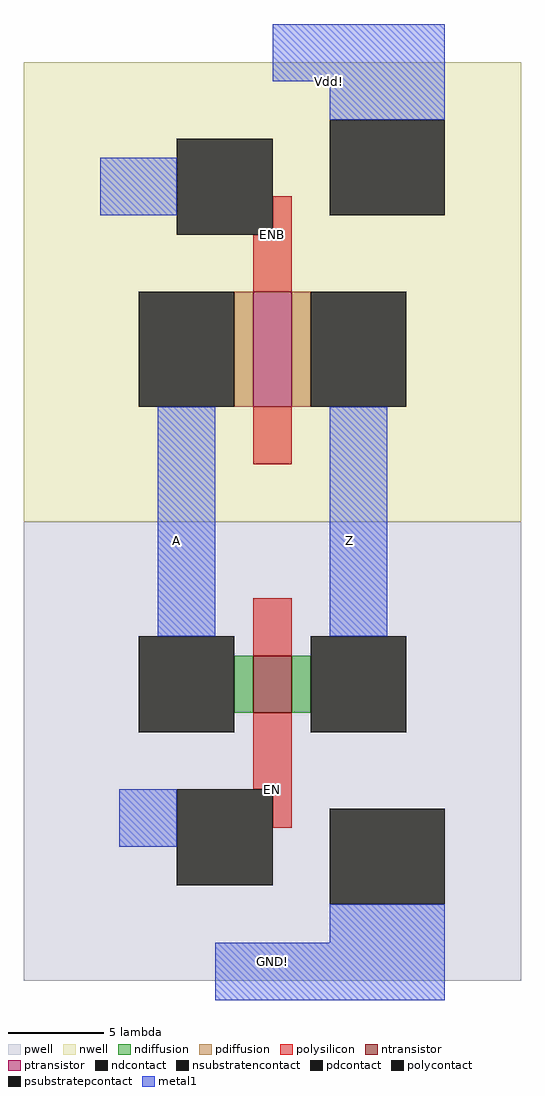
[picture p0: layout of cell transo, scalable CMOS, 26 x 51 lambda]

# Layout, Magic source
magic
tech scmos
<< nwell >>
rect -13 -2 13 22
<< pwell >>
rect -13 -26 13 -2
<< ntransistor >>
rect -1 -12 1 -9
<< ptransistor >>
rect -1 4 1 10
<< ndiffusion >>
rect -2 -12 -1 -9
rect 1 -12 2 -9
<< pdiffusion >>
rect -2 4 -1 10
rect 1 4 2 10
<< ndcontact >>
rect -7 -13 -2 -8
rect 2 -13 7 -8
<< pdcontact >>
rect -7 4 -2 10
rect 2 4 7 10
<< psubstratepcontact >>
rect 3 -22 9 -17
<< nsubstratencontact >>
rect 3 14 9 19
<< polysilicon >>
rect 0 13 1 15
rect -1 10 1 13
rect -1 1 1 4
rect -1 -9 1 -6
rect -1 -16 1 -12
rect 0 -18 1 -16
<< polycontact >>
rect -5 13 0 18
rect -5 -21 0 -16
<< metal1 >>
rect 0 21 9 24
rect 3 19 9 21
rect -9 14 -5 17
rect -6 -8 -3 4
rect 3 -8 6 4
rect -8 -19 -5 -16
rect 3 -24 9 -22
rect -3 -27 9 -24
<< labels >>
rlabel metal1 -5 -3 -5 -3 1 A
port 3 n
rlabel metal1 4 -3 4 -3 1 Z
port 4 n
rlabel polysilicon 0 -16 0 -16 1 EN
port 5 n
rlabel polysilicon 0 13 0 13 1 ENB
port 6 n
rlabel metal1 0 -25 0 -25 1 GND!
port 2 n
rlabel metal1 3 21 3 21 5 Vdd!
port 1 s
<< end >>
